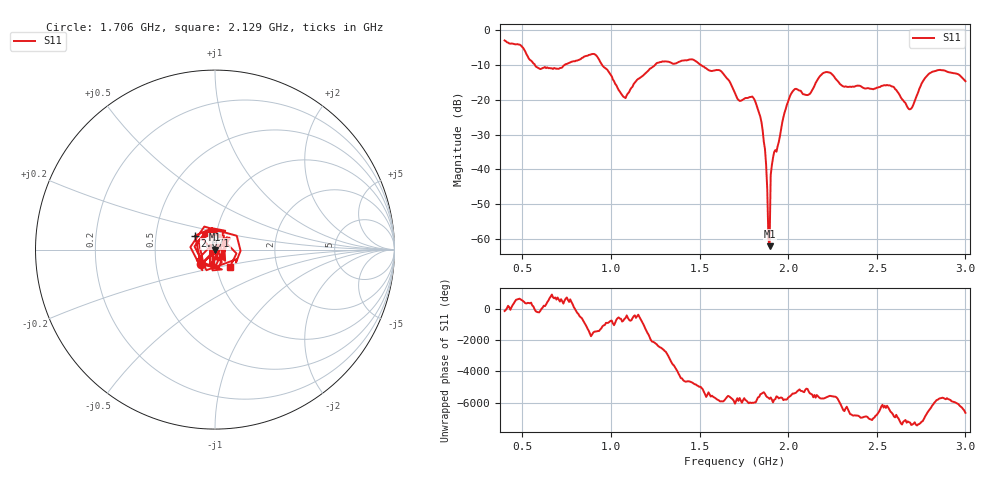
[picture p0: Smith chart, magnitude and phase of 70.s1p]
!Created with skrf (http://scikit-rf.org).
# Hz S RI R 50.0
!freq ReS11 ImS11
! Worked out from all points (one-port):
!   401 points, 400 MHz to 3 GHz, reference 50 ohm
!   lowest |S11| = -62.1 dB at 1.895 GHz (marker M1), VSWR 1.00, Z = 50.1 - j0.0091 ohm
!   |S11| at or under -10 dB: 571 MHz to 739 MHz (168 MHz wide, 25.6 % of centre); 950.1 MHz to 1.249 GHz (298.8 MHz wide, 27.2 % of centre); 1.507 GHz to end of sweep
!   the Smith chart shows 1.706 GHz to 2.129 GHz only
!   S11 on the Smith chart (normalised r, x): 1.706 GHz: 0.84, -0.14; 2.071 GHz: 0.79, +0.12; 2.129 GHz: 1.16, -0.23
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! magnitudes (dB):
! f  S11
! 400 MHz  -3.0
! 491 MHz  -4.4
! 588.5 MHz  -10.8
! 725 MHz  -10.7
! 907 MHz  -6.9
! 1.05 GHz  -17.6
! 1.089 GHz  -18.7
! 1.264 GHz  -9.4
! 1.375 GHz  -9.3
! 1.615 GHz  -11.6
! 1.7 GHz  -18.1
! 1.706 GHz  -18.9
! 1.798 GHz  -19.1
! 1.83 GHz  -22.9
! 1.856 GHz  -28.8
! 1.869 GHz  -34.1
! 1.882 GHz  -45.8
! 1.895 GHz  -62.1
! 1.915 GHz  -36.7
! 2.025 GHz  -17.6
! 2.071 GHz  -17.4
! 2.129 GHz  -17.8
! 2.213 GHz  -12.0
! 2.35 GHz  -16.3
! 2.584 GHz  -16.2
! 2.675 GHz  -22.3
! 2.812 GHz  -12.0
! 3 GHz  -14.7
